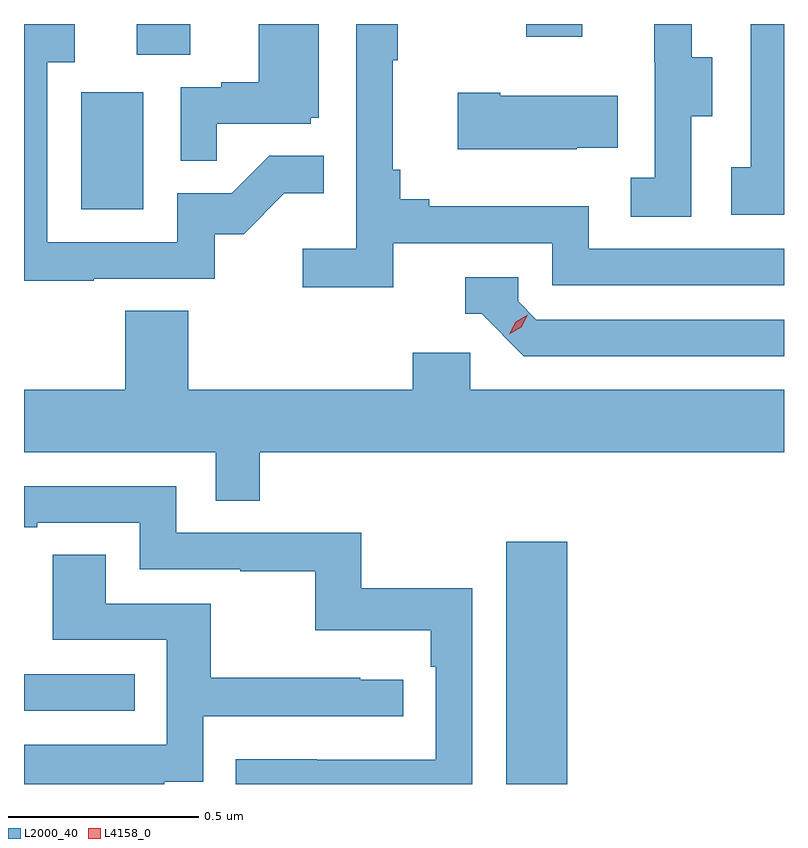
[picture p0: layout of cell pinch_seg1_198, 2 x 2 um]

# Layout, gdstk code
import gdstk
lib = gdstk.Library(unit=1e-6, precision=1e-09)
def R(c, l, rs):  # rectangles x0, y0, x1, y1
    for r in rs: c.add(gdstk.rectangle(r[:2], r[2:], *l))
def P(c, l, *ps):  # polygons
    for p in ps: c.add(gdstk.Polygon(p, *l))
L2000_40 = (2000, 40)
L4158_0 = (4158, 0)

pinch_seg1_198 = lib.new_cell('pinch_seg1_198')
R(pinch_seg1_198, L2000_40, [(984.065,580.163,984.226,580.801), (982.796,580.356,983.087,580.452), (982.946,581.676,983.11,581.983), (983.093,582.082,983.233,582.163), (984.118,582.129,984.265,582.163)])
P(pinch_seg1_198, L2000_40, [(984.796,582.163),(984.708,582.163),(984.708,581.786),(984.657,581.786),(984.657,581.661),(984.796,581.661)],
  [(983.768,581.586),(984.186,581.586),(984.186,581.475),(984.796,581.475),(984.796,581.571),(984.282,581.571),(984.282,581.683),(983.863,581.683),(983.863,581.702),(983.786,581.702),(983.786,581.779),(983.767,581.779),(983.767,582.067),(983.779,582.067),(983.779,582.163),(983.67,582.163),(983.67,581.572),(983.529,581.572),(983.529,581.47),(983.768,581.47)],
  [(983.303,581.901),(983.55,581.901),(983.55,581.916),(983.572,581.916),(983.572,582.163),(983.414,582.163),(983.414,582.01),(983.315,582.01),(983.315,581.997),(983.208,581.997),(983.208,581.803),(983.303,581.803)],
  [(984.552,581.92),(984.607,581.92),(984.607,582.075),(984.553,582.075),(984.553,582.163),(984.455,582.163),(984.455,582.063),(984.456,582.063),(984.456,581.759),(984.393,581.759),(984.393,581.656),(984.552,581.656)],
  [(982.979,581.493),(983.298,581.493),(983.298,581.61),(983.374,581.61),(983.481,581.717),(983.585,581.717),(983.585,581.816),(983.441,581.816),(983.343,581.718),(983.199,581.718),(983.199,581.589),(982.857,581.589),(982.857,582.063),(982.93,582.063),(982.93,582.163),(982.796,582.163),(982.796,581.488),(982.979,581.488)],
  [(984.251,581.837),(984.359,581.837),(984.359,581.974),(984.049,581.974),(984.049,581.982),(983.937,581.982),(983.937,581.834),(984.251,581.834)],
  [(984.796,581.385),(984.144,581.385),(984.096,581.433),(984.096,581.496),(983.957,581.496),(983.957,581.4),(984,581.4),(984.111,581.289),(984.796,581.289)],
  [(984.796,581.2),(983.97,581.2),(983.97,581.298),(983.819,581.298),(983.819,581.2),(983.228,581.2),(983.228,581.408),(983.063,581.408),(983.063,581.2),(982.796,581.2),(982.796,581.036),(983.301,581.036),(983.301,580.909),(983.417,580.909),(983.417,581.036),(984.796,581.036)],
  [(983.976,580.678),(983.683,580.678),(983.683,580.824),(983.196,580.824),(983.196,580.947),(982.796,580.947),(982.796,580.839),(982.831,580.839),(982.831,580.851),(983.1,580.851),(983.1,580.728),(983.365,580.728),(983.365,580.723),(983.562,580.723),(983.562,580.568),(983.867,580.568),(983.867,580.472),(983.88,580.472),(983.88,580.227),(983.567,580.227),(983.567,580.228),(983.353,580.228),(983.353,580.163),(983.976,580.163)],
  [(983.165,580.169),(983.268,580.169),(983.268,580.341),(983.794,580.341),(983.794,580.437),(983.681,580.437),(983.681,580.442),(983.288,580.442),(983.288,580.638),(983.011,580.638),(983.011,580.766),(982.871,580.766),(982.871,580.542),(983.172,580.542),(983.172,580.266),(982.796,580.266),(982.796,580.163),(983.165,580.163)])
P(pinch_seg1_198, L4158_0, [(984.073,581.346),(984.073,581.347),(984.09,581.379),(984.121,581.398),(984.121,581.398),(984.121,581.398),(984.104,581.365),(984.073,581.346)])

lib.write_gds('pinch_seg1_198.gds')
